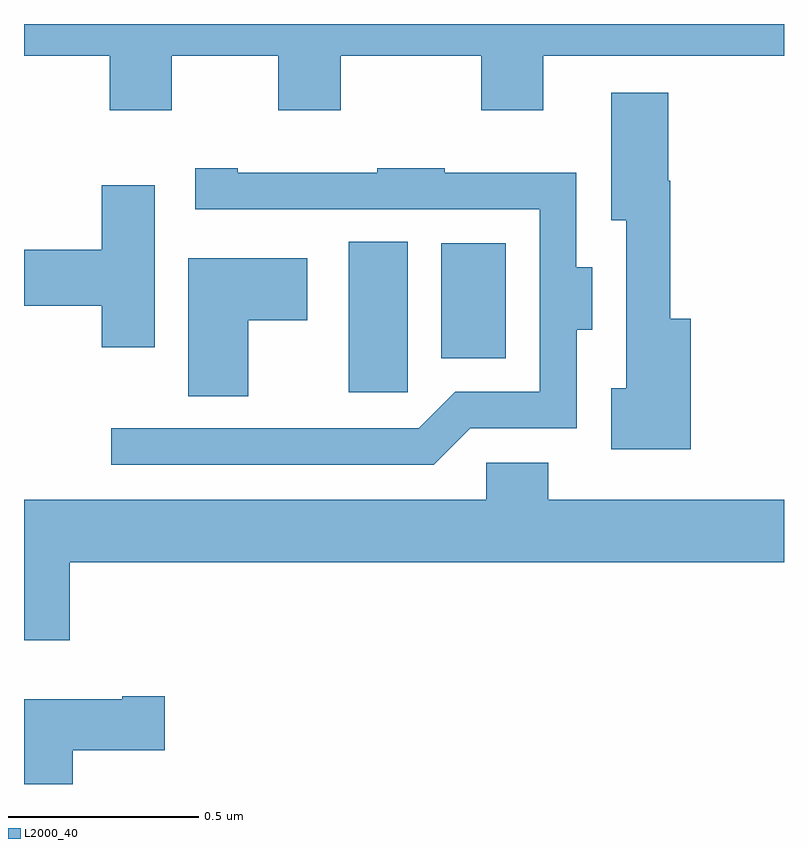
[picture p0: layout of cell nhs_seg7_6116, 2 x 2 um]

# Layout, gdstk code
import gdstk
lib = gdstk.Library(unit=1e-6, precision=1e-09)
def R(c, l, rs):  # rectangles x0, y0, x1, y1
    for r in rs: c.add(gdstk.rectangle(r[:2], r[2:], *l))
def P(c, l, *ps):  # polygons
    for p in ps: c.add(gdstk.Polygon(p, *l))
L2000_40 = (2000, 40)

nhs_seg7_6116 = lib.new_cell('nhs_seg7_6116')
R(nhs_seg7_6116, L2000_40, [(194.855,1033.031,195.01,1033.427), (195.098,1033.121,195.268,1033.423)])
P(nhs_seg7_6116, L2000_40, [(194.389,1033.916),(194.669,1033.916),(194.669,1033.773),(194.833,1033.773),(194.833,1033.916),(195.203,1033.916),(195.203,1033.773),(195.367,1033.773),(195.367,1033.916),(196,1033.916),(196,1034),(194,1034),(194,1033.916),(194.225,1033.916),(194.225,1033.773),(194.389,1033.773)],
  [(195.755,1033.225),(195.701,1033.225),(195.701,1033.588),(195.695,1033.588),(195.695,1033.819),(195.545,1033.819),(195.545,1033.484),(195.585,1033.484),(195.585,1033.041),(195.545,1033.041),(195.545,1032.881),(195.755,1032.881)],
  [(195.174,1032.936),(195.454,1032.936),(195.454,1033.196),(195.496,1033.196),(195.496,1033.36),(195.453,1033.36),(195.453,1033.609),(195.107,1033.609),(195.107,1033.621),(194.929,1033.621),(194.929,1033.609),(194.563,1033.609),(194.563,1033.621),(194.451,1033.621),(194.451,1033.512),(195.357,1033.512),(195.357,1033.032),(195.135,1033.032),(195.039,1032.936),(194.229,1032.936),(194.229,1032.84),(195.078,1032.84)],
  [(194.344,1033.576),(194.204,1033.576),(194.204,1033.406),(194,1033.406),(194,1033.259),(194.204,1033.259),(194.204,1033.149),(194.344,1033.149)],
  [(194.59,1033.22),(194.746,1033.22),(194.746,1033.384),(194.432,1033.384),(194.432,1033.021),(194.59,1033.021)],
  [(194.12,1032.584),(196,1032.584),(196,1032.748),(195.38,1032.748),(195.38,1032.846),(195.216,1032.846),(195.216,1032.748),(194,1032.748),(194,1032.378),(194.12,1032.378)],
  [(194.128,1032.089),(194.371,1032.089),(194.371,1032.231),(194.258,1032.231),(194.258,1032.223),(194,1032.223),(194,1032),(194.128,1032)])

lib.write_gds('nhs_seg7_6116.gds')
